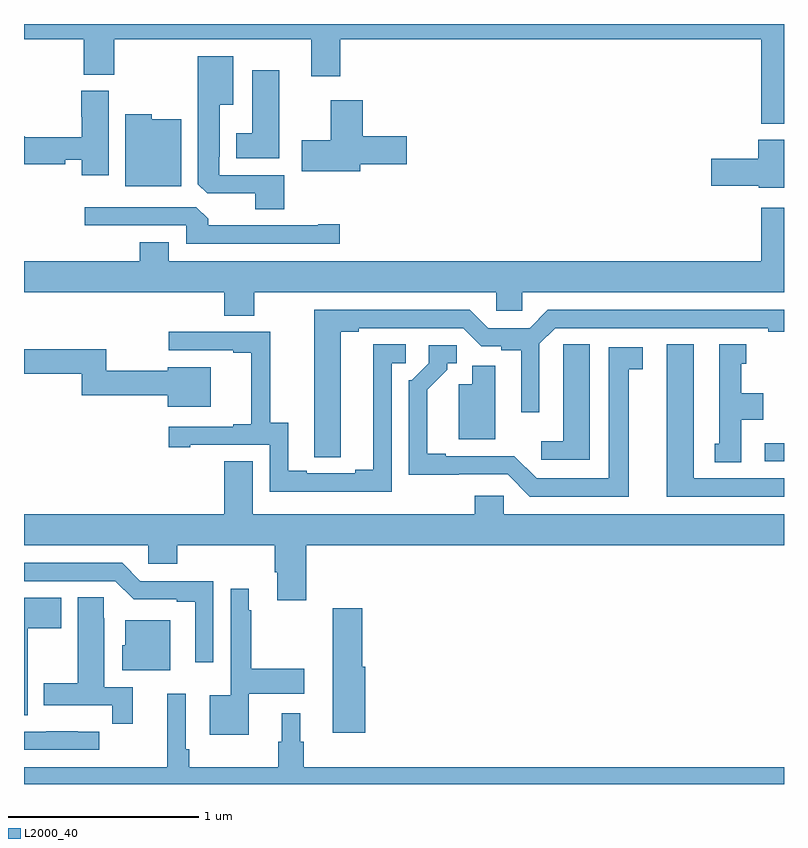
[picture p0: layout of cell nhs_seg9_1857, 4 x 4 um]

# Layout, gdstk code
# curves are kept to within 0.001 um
import gdstk
lib = gdstk.Library(unit=1e-6, precision=1e-09)
def R(c, l, rs):  # rectangles x0, y0, x1, y1
    for r in rs: c.add(gdstk.rectangle(r[:2], r[2:], *l))
def P(c, l, *ps):  # polygons
    for p in ps: c.add(gdstk.Polygon(p, *l))
L2000_40 = (2000, 40)

nhs_seg9_1857 = lib.new_cell('nhs_seg9_1857')
R(nhs_seg9_1857, L2000_40, [(218.898,1194.198,219,1194.294)])
P(nhs_seg9_1857, L2000_40, [(219,1196.5),(215,1196.5),(215,1196.42),(215.315,1196.42),(215.315,1196.233),(215.475,1196.233),(215.475,1196.42),(216.512,1196.42),(216.512,1196.226),(216.665,1196.226),(216.665,1196.42),(218.88,1196.42),(218.88,1195.976),(219,1195.976)],
  [(216.371,1195.704),(216.027,1195.704),(216.027,1195.801),(216.031,1195.801),(216.031,1196.075),(216.1,1196.075),(216.1,1196.329),(215.915,1196.329),(215.915,1195.657),(215.964,1195.608),(216.218,1195.608),(216.218,1195.525),(216.371,1195.525)],
  [(216.343,1196.257),(216.2,1196.257),(216.2,1195.924),(216.116,1195.924),(216.116,1195.793),(216.343,1195.793)],
  [(215.446,1196.148),(215.3,1196.148),(215.3,1196.012),(215.305,1196.012),(215.305,1195.904),(215.004,1195.904),(215.004,1195.91),(215,1195.91),(215,1195.763),(215.216,1195.763),(215.216,1195.786),(215.305,1195.786),(215.305,1195.704),(215.446,1195.704)],
  [(216.769,1195.763),(217.015,1195.763),(217.015,1195.91),(216.782,1195.91),(216.782,1196.098),(216.614,1196.098),(216.614,1195.887),(216.462,1195.887),(216.462,1195.724),(216.769,1195.724)],
  [(215.827,1195.999),(215.673,1195.999),(215.673,1196.026),(215.534,1196.026),(215.534,1195.646),(215.827,1195.646)],
  [(219,1195.891),(218.864,1195.891),(218.864,1195.79),(218.616,1195.79),(218.616,1195.648),(218.868,1195.648),(218.868,1195.637),(219,1195.637)],
  [(216.661,1195.445),(216.548,1195.445),(216.548,1195.44),(215.969,1195.44),(215.969,1195.474),(215.907,1195.536),(215.319,1195.536),(215.319,1195.44),(215.853,1195.44),(215.853,1195.344),(216.661,1195.344)],
  [(216.213,1195.088),(217.485,1195.088),(217.485,1194.99),(217.623,1194.99),(217.623,1195.088),(219,1195.088),(219,1195.534),(218.88,1195.534),(218.88,1195.252),(215.761,1195.252),(215.761,1195.351),(215.609,1195.351),(215.609,1195.252),(215,1195.252),(215,1195.088),(216.053,1195.088),(216.053,1194.964),(216.213,1194.964)],
  [(216.667,1194.88),(216.763,1194.88),(216.763,1194.9),(217.311,1194.9),(217.407,1194.804),(217.512,1194.804),(217.512,1194.784),(217.616,1194.784),(217.616,1194.456),(217.713,1194.456),(217.713,1194.816),(217.797,1194.9),(218.918,1194.9),(218.918,1194.88),(219,1194.88),(219,1194.996),(217.757,1194.996),(217.661,1194.9),(217.443,1194.9),(217.347,1194.996),(216.527,1194.996),(216.528,1194.22),(216.667,1194.22)],
  [(216.936,1194.714),(217.009,1194.714),(217.009,1194.815),(216.839,1194.815),(216.839,1194.155),(216.743,1194.155),(216.743,1194.135),(216.487,1194.135),(216.487,1194.15),(216.391,1194.15),(216.391,1194.401),(216.297,1194.401),(216.297,1194.879),(215.763,1194.879),(215.763,1194.783),(216.101,1194.783),(216.101,1194.771),(216.197,1194.771),(216.197,1194.394),(216.101,1194.394),(216.101,1194.381),(215.763,1194.381),(215.763,1194.273),(215.875,1194.273),(215.875,1194.285),(216.294,1194.285),(216.294,1194.039),(216.936,1194.039)],
  [(217.978,1194.815),(217.839,1194.815),(217.839,1194.707),(217.838,1194.707),(217.838,1194.304),(217.722,1194.304),(217.722,1194.207),(217.978,1194.207)],
  [(219,1194.108),(218.524,1194.108),(218.524,1194.814),(218.384,1194.814),(218.384,1194.012),(219,1194.012)],
  [(218.776,1194.416),(218.89,1194.416),(218.89,1194.556),(218.776,1194.556),(218.776,1194.711),(218.8,1194.711),(218.8,1194.814),(218.66,1194.814),(218.66,1194.291),(218.636,1194.291),(218.636,1194.193),(218.776,1194.193)],
  [(218.182,1194.682),(218.257,1194.682),(218.257,1194.798),(218.078,1194.798),(218.078,1194.108),(217.698,1194.108),(217.581,1194.225),(217.219,1194.225),(217.219,1194.238),(217.123,1194.238),(217.123,1194.574),(217.228,1194.679),(217.228,1194.714),(217.278,1194.714),(217.278,1194.81),(217.131,1194.81),(217.131,1194.714),(217.041,1194.624),(217.026,1194.624),(217.026,1194.128),(217.545,1194.129),(217.662,1194.012),(218.182,1194.012)],
  [(215.983,1194.694),(215.756,1194.694),(215.756,1194.676),(215.434,1194.676),(215.434,1194.787),(215,1194.787),(215,1194.658),(215.305,1194.658),(215.305,1194.547),(215.756,1194.547),(215.756,1194.485),(215.983,1194.485)],
  [(217.48,1194.702),(217.358,1194.702),(217.358,1194.604),(217.289,1194.604),(217.289,1194.314),(217.48,1194.314)],
  [(216.485,1193.756),(219,1193.756),(219,1193.92),(217.524,1193.92),(217.524,1194.018),(217.373,1194.018),(217.373,1193.92),(216.205,1193.92),(216.205,1194.2),(216.053,1194.2),(216.053,1193.92),(215,1193.92),(215,1193.756),(215.655,1193.756),(215.655,1193.658),(215.807,1193.658),(215.807,1193.756),(216.32,1193.756),(216.32,1193.614),(216.332,1193.614),(216.332,1193.466),(216.485,1193.466)],
  [(215.997,1193.568),(215.613,1193.568),(215.517,1193.664),(215,1193.664),(215,1193.568),(215.481,1193.568),(215.577,1193.472),(215.804,1193.472),(215.804,1193.46),(215.9,1193.46),(215.9,1193.142),(215.997,1193.142)],
  [(216.184,1192.976),(216.475,1192.976),(216.475,1193.106),(216.196,1193.106),(216.196,1193.414),(216.184,1193.414),(216.184,1193.527),(216.087,1193.527),(216.087,1192.966),(215.978,1192.966),(215.978,1192.76),(216.184,1192.76)],
  [(215.573,1193.01),(215.422,1193.01),(215.422,1193.372),(215.421,1193.372),(215.421,1193.483),(215.282,1193.483),(215.282,1193.031),(215.105,1193.031),(215.105,1192.914),(215.464,1192.914),(215.464,1192.818),(215.573,1192.818)],
  [(215.02,1193.32),(215.197,1193.32),(215.197,1193.479),(215,1193.479),(215,1192.861),(215.02,1192.861)],
  [(216.797,1193.118),(216.779,1193.118),(216.779,1193.425),(216.625,1193.425),(216.625,1193.118),(216.626,1193.118),(216.626,1192.77),(216.797,1192.77)],
  [(215.77,1193.362),(215.534,1193.362),(215.534,1193.229),(215.516,1193.229),(215.516,1193.099),(215.77,1193.099)],
  [(219,1192.588),(216.473,1192.588),(216.473,1192.722),(216.454,1192.722),(216.454,1192.873),(216.356,1192.873),(216.356,1192.722),(216.337,1192.722),(216.337,1192.588),(215.87,1192.588),(215.87,1192.684),(215.85,1192.684),(215.85,1192.975),(215.753,1192.975),(215.753,1192.588),(215,1192.588),(215,1192.5),(219,1192.5)],
  [(215.395,1192.776),(215.282,1192.776),(215.282,1192.777),(215.116,1192.777),(215.116,1192.776),(215,1192.776),(215,1192.68),(215.395,1192.68)])

lib.write_gds('nhs_seg9_1857.gds')
